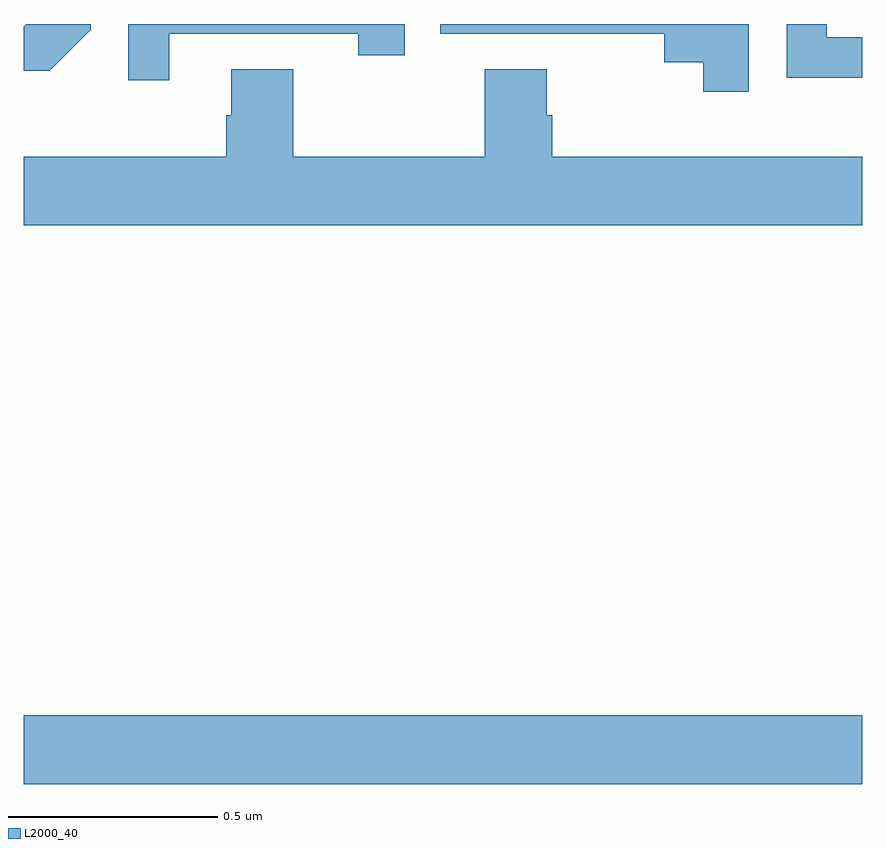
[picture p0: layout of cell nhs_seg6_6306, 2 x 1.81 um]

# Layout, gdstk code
import gdstk
lib = gdstk.Library(unit=1e-6, precision=1e-09)
def R(c, l, rs):  # rectangles x0, y0, x1, y1
    for r in rs: c.add(gdstk.rectangle(r[:2], r[2:], *l))
def P(c, l, *ps):  # polygons
    for p in ps: c.add(gdstk.Polygon(p, *l))
L2000_40 = (2000, 40)

nhs_seg6_6306 = lib.new_cell('nhs_seg6_6306')
R(nhs_seg6_6306, L2000_40, [(194,928.688,196,928.852)])
P(nhs_seg6_6306, L2000_40, [(195.729,930.5),(194.994,930.5),(194.994,930.477),(195.528,930.477),(195.528,930.409),(195.621,930.409),(195.621,930.339),(195.729,930.339)],
  [(194.347,930.477),(194.798,930.477),(194.798,930.426),(194.909,930.426),(194.909,930.5),(194.25,930.5),(194.25,930.366),(194.347,930.366)],
  [(196,930.468),(195.915,930.468),(195.915,930.5),(195.819,930.5),(195.819,930.372),(196,930.372)],
  [(194.16,930.486),(194.16,930.5),(194.006,930.5),(194,930.494),(194,930.389),(194.062,930.389)],
  [(196,930.184),(195.26,930.184),(195.26,930.282),(195.247,930.282),(195.247,930.392),(195.1,930.392),(195.1,930.184),(194.643,930.184),(194.643,930.392),(194.495,930.392),(194.495,930.282),(194.483,930.282),(194.483,930.184),(194,930.184),(194,930.02),(196,930.02)])

lib.write_gds('nhs_seg6_6306.gds')
